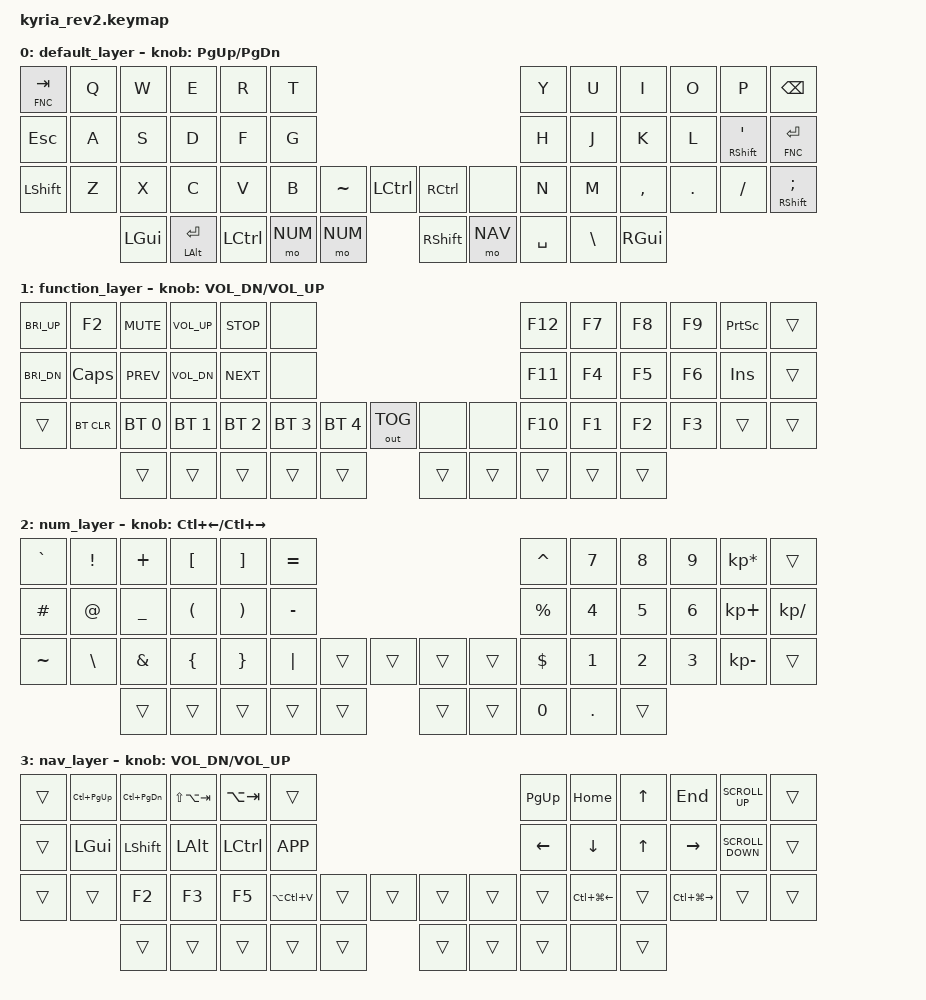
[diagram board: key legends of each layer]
/* Copyright (c) 2020 The ZMK Contributors
 *
 * SPDX-License-Identifier: MIT
 */

#include <behaviors.dtsi>
#include <dt-bindings/zmk/keys.h>
#include <dt-bindings/zmk/bt.h>
#include <dt-bindings/zmk/outputs.h>

#define BASE 0
#define FNC  1
#define NUM  2
#define NAV  3
#define PTAB LC(PG_UP)
#define NTAB LC(PG_DN)
#define NWIN LA(TAB)
#define PWIN LS(LA(TAB))
#define XSLV LA(LC(V))
#define PDESK LC(LG(RIGHT))
#define NDESK LC(LG(LEFT))
#define LR_DOWN LA(DOWN)
#define LR_UP LA(UP)

&sl {
	release-after-ms = <1000>;
};

/ {
	behaviors {
    // hm: homerow_mods {
    //   compatible = "zmk,behavior-hold-tap";
    //   label = "HOMEROW_MODS";
    //   #binding-cells = <2>;
    //   tapping_term_ms = <200>;
    //   flavor = "tap-preferred";
    //   bindings = <&kp>, <&cp>;
    // };
		hm: homerow_mods {
	    compatible = "zmk,behavior-hold-tap";
	    label = "homerow mods";
	    #binding-cells = <2>;
	    tapping_term_ms = <220>;
	    flavor = "balanced";
	    bindings = <&kp>, <&kp>;
	  };

	  mx: layer_tap_osl {
			compatible = "zmk,behavior-hold-tap";
			label = "LAYER_TAP_OSL";
			#binding-cells = <2>;
			flavor = "hold-preferred";
			tapping_term_ms = <200>;
			bindings = <&mo>, <&sl>;
		};
	};

	keymap {
		compatible = "zmk,keymap";

		default_layer {
// ---------------------------------------------------------------------------------------------------------------------------------
// | TAB/FN|  Q  |  W  |  E   |  R   |  T   |                                          |  Y   |  U    |  I    |  O   |   P   | bksp |
// | ESC   |  A  |  S  |  D   |  F   |  G   |                                          |  H   |  J    |  K    |  L   |   '   |ent/fn|
// | SHIFT |  Z  |  X  |  C   |  V   |  B   |  ~      |  ctrl   |  |   ctrl  |  blank  |  N   |  M    |  ,    |  .   |   /   |shft/;|
//                     | GUI  |Alt/En| Ctrl |  Num    |   Num   |  |   shft  |  num    | spc  |  \    | GUI   |
			bindings = <
	&lt FNC TAB &kp Q       &kp W &kp E &kp R &kp T                                            &kp Y &kp U  &kp I     &kp O   &kp P         &kp BSPC
	&kp ESC     &kp A       &kp S &kp D &kp F &kp G                                            &kp H &kp J  &kp K     &kp L   &hm RSHFT SQT &lt FNC RET
	&kp LSHFT   &kp Z       &kp X &kp C &kp V &kp B &kp TILDE  &kp LCTRL          &kp RCTRL &none  &kp N &kp M  &kp COMMA &kp DOT &kp FSLH      &mt RSHFT SEMI
	              &kp LGUI &mt LALT RET &kp LCTRL &mo NUM  &mo NUM            &kp RSHFT &mo NAV &kp SPC &kp BSLH &kp RGUI
			>;

			sensor-bindings = <&inc_dec_kp PG_UP PG_DN>;
		};

		function_layer {
// ---------------------------------------------------------------------------------------------------------------------------------
// | BRIG+ |  F2 | mute| V+   | stp  |   @  |                                       | F12  |  F7   |  F8   |  F9  | Print| none |
// | BRIG- | caps| Prev| V-   | Next |   @p |                                       | F11  |  F4   |  F5   |  F6  | Ins  | none |
// | none  | /Ble| Ble0| Ble1 | Ble2 | Ble3 |  Ble4  |  ---    |  |   ---   |  ---  | F10  |  F1   |  F2   |  F3  | ---  | none |
//                     | ---  | ---  | ---  |  ---   |  ---    |  |   ---   |  ---  | ---  | ---   | ---   |
			bindings = <
	&kp C_BRI_UP &kp F2     &kp C_MUTE   &kp C_VOL_UP &kp C_STOP   &none                                                &kp F12 &kp F7 &kp F8 &kp F9 &kp PSCRN &trans
	&kp C_BRI_DN &kp CAPS   &kp C_PREV   &kp C_VOL_DN &kp C_NEXT   &none                                                &kp F11 &kp F4 &kp F5 &kp F6 &kp INS  &trans
	&trans       &bt BT_CLR &bt BT_SEL 0 &bt BT_SEL 1 &bt BT_SEL 2 &bt BT_SEL 3 &bt BT_SEL 4 &out OUT_TOG  &none  &none &kp F10 &kp F1 &kp F2 &kp F3 &trans   &trans
	                         &trans        &trans        &trans           &trans       &trans        &trans &trans &trans &trans &trans
			>;

			sensor-bindings = <&inc_dec_cp C_VOL_DN C_VOL_UP>;
		};

		num_layer {
// ---------------------------------------------------------------------------------------------------------------------------------
// | `     |  !  |  +  |  [   |  ]   |  =   |                                          |  %   |  7    |  8    |  9   |   *   | none |
// | #     |  @  |  _  |  (   |  )   |  -   |                                          |  $   |  4    |  5    |  6   |   +   |   /  |
// | ~     |  \  |  &  |  {   |  }   |  |   |   ---   |  ---    |  |   ---   |  ---    |  ^   |  1    |  2    |  3   |   -   | ---  |
//                     | ENC  | ---  | ---  |   ---   |  ---    |  |   ---   |  ---    | ---  | ---   | ---   |
			bindings = <
	&kp GRAVE &kp EXCL &kp PLUS  &kp LBKT &kp RBKT &kp EQUAL                             &kp CARET &kp N7 &kp N8 &kp N9 &kp KP_MULTIPLY &trans
	&kp HASH  &kp AT   &kp UNDER &kp LPAR &kp RPAR &kp MINUS                             &kp PRCNT &kp N4 &kp N5 &kp N6 &kp KP_PLUS &kp KP_DIVIDE
	&kp TILDE &kp BSLH &kp AMPS  &kp LBRC &kp RBRC &kp PIPE &trans &trans  &trans &trans &kp DLLR  &kp N1 &kp N2 &kp N3 &kp KP_MINUS &trans
	                       &trans  &trans   &trans          &trans &trans  &trans &trans    &kp N0  &kp DOT    &trans
			>;

			sensor-bindings = <&inc_dec_kp LC(LEFT) LC(RIGHT)>;
		};

		nav_layer {
// ---------------------------------------------------------------------------------------------------------------------------------
// | ---  | Tab-| Tab+| win+ | win- | excel|                                          | Pgup | Home |  Up   | End  | ScrUp | ---  |
// | ---  | Win | Shft| alt  | ctrl | app  |                                          | Left | Down |  Up   | Right| ScrDn | ---  |
// | ---  | --- | F2  | F3   | F5   | excel|   ---   |  ---    |  |   ---   |  ---    |      | Predk| ---   | NxDk |   -   |---   |
//                    | ---  | ---  | ---  |   ---   |  ---    |  |   ---   |  ---    | ---  | ---  | ---   |
			bindings = <
	&trans &kp PTAB &kp NTAB  &kp PWIN &kp NWIN  &trans                                &kp PG_UP &kp HOME &kp UP   &kp END   &kp K_SCROLL_UP &trans
	&trans &kp LGUI &kp LSHFT &kp LALT &kp LCTRL &kp K_APP                             &kp LEFT  &kp DOWN &kp UP   &kp RIGHT &kp K_SCROLL_DOWN &trans
	&trans &trans   &kp F2    &kp F3   &kp F5    &kp XSLV &trans &trans  &trans &trans &trans   &kp NDESK &trans   &kp PDESK &trans &trans
	                       &trans  &trans   &trans        &trans &trans  &trans &trans    &trans    &none     &trans
			>;

			sensor-bindings = <&inc_dec_cp C_VOL_DN C_VOL_UP>;
		};
	};
};
